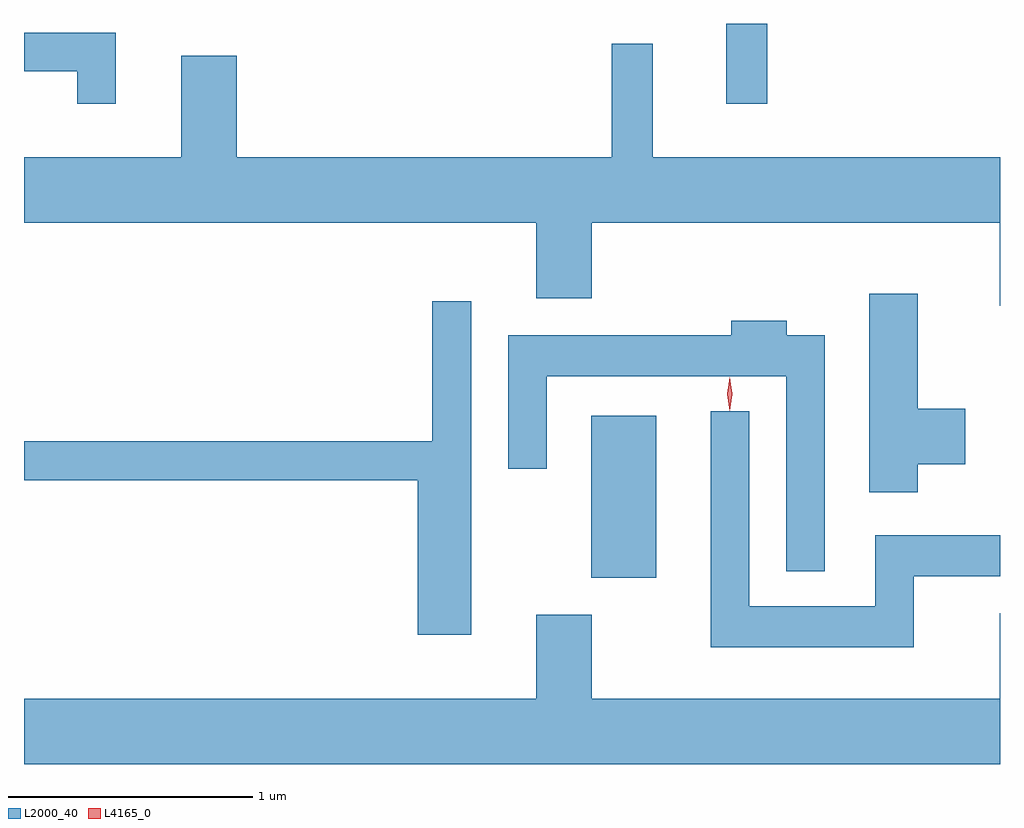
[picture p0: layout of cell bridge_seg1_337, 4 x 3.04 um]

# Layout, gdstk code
import gdstk
lib = gdstk.Library(unit=1e-6, precision=1e-09)
def R(c, l, rs):  # rectangles x0, y0, x1, y1
    for r in rs: c.add(gdstk.rectangle(r[:2], r[2:], *l))
def P(c, l, *ps):  # polygons
    for p in ps: c.add(gdstk.Polygon(p, *l))
L2000_40 = (2000, 40)
L4165_0 = (4165, 0)

bridge_seg1_337 = lib.new_cell('bridge_seg1_337')
R(bridge_seg1_337, L2000_40, [(907.166,884.801,907.434,885.464), (907.721,886.743,907.889,887.071)])
P(bridge_seg1_337, L2000_40, [(905.219,887.034),(904.842,887.034),(904.842,886.876),(905.061,886.876),(905.061,886.743),(905.219,886.743)],
  [(908.842,886.524),(907.419,886.524),(907.419,886.988),(907.251,886.988),(907.251,886.524),(905.714,886.524),(905.714,886.939),(905.486,886.939),(905.486,886.524),(904.842,886.524),(904.842,886.256),(906.941,886.256),(906.941,885.946),(907.169,885.946),(907.169,886.256),(908.841,886.256),(908.841,885.916),(908.842,885.916)],
  [(908.504,885.266),(908.699,885.266),(908.699,885.494),(908.504,885.494),(908.504,885.964),(908.306,885.964),(908.306,885.151),(908.504,885.151)],
  [(906.674,885.933),(906.516,885.933),(906.516,885.359),(904.842,885.359),(904.842,885.201),(906.456,885.201),(906.456,884.566),(906.674,884.566)],
  [(908.124,885.794),(907.969,885.794),(907.969,885.854),(907.741,885.854),(907.741,885.794),(906.826,885.794),(906.826,885.248),(906.984,885.248),(906.984,885.626),(907.966,885.626),(907.966,884.828),(908.124,884.828)],
  [(908.489,884.806),(908.842,884.806),(908.842,884.974),(908.331,884.974),(908.331,884.684),(907.814,884.684),(907.814,885.483),(907.656,885.483),(907.656,884.516),(908.489,884.516)],
  [(908.842,884.654),(908.841,884.654),(908.841,884.304),(907.169,884.304),(907.169,884.649),(906.941,884.649),(906.941,884.304),(904.842,884.304),(904.842,884.036),(908.842,884.036)])
P(bridge_seg1_337, L4165_0, [(907.734,885.487),(907.734,885.488),(907.724,885.554),(907.734,885.62),(907.734,885.62),(907.735,885.62),(907.744,885.554),(907.735,885.488)],
  [(907.734,885.484),(907.725,885.553),(907.734,885.622),(907.735,885.623),(907.735,885.622),(907.745,885.553),(907.735,885.484),(907.735,885.484)])

lib.write_gds('bridge_seg1_337.gds')
